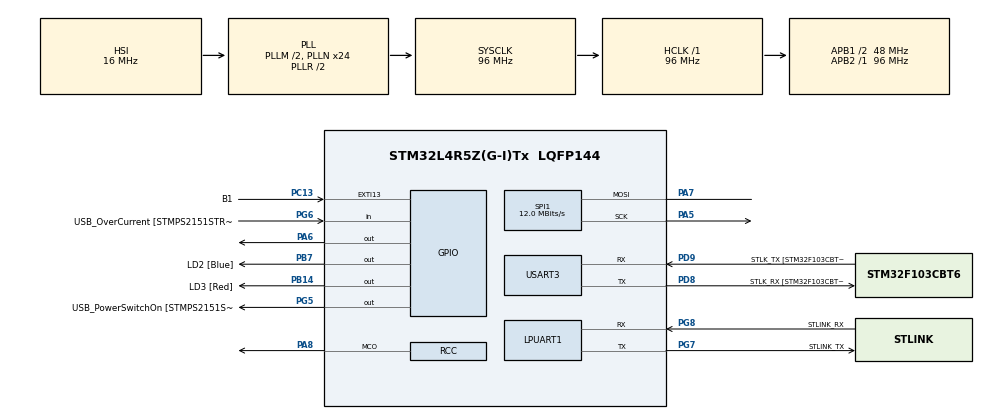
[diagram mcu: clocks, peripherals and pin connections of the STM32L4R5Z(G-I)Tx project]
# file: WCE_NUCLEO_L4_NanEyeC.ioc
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Dma.Request0=SPI1_RX
Dma.Request1=SPI1_TX
Dma.SPI1_RX.0.Direction=DMA_PERIPH_TO_MEMORY
Dma.SPI1_RX.0.EventEnable=DISABLE
Dma.SPI1_RX.0.Instance=DMA1_Channel1
Dma.SPI1_RX.0.MemDataAlignment=DMA_MDATAALIGN_BYTE
Dma.SPI1_RX.0.MemInc=DMA_MINC_ENABLE
Dma.SPI1_RX.0.Mode=DMA_NORMAL
Dma.SPI1_RX.0.PeriphDataAlignment=DMA_PDATAALIGN_BYTE
Dma.SPI1_RX.0.PeriphInc=DMA_PINC_DISABLE
Dma.SPI1_RX.0.Polarity=HAL_DMAMUX_REQUEST_GEN_RISING
Dma.SPI1_RX.0.Priority=DMA_PRIORITY_LOW
Dma.SPI1_RX.0.RequestNumber=1
Dma.SPI1_RX.0.SignalID=NONE
Dma.SPI1_RX.0.SyncEnable=DISABLE
Dma.SPI1_RX.0.SyncPolarity=HAL_DMAMUX_SYNC_NO_EVENT
Dma.SPI1_RX.0.SyncRequestNumber=1
Dma.SPI1_RX.0.SyncSignalID=NONE
Dma.SPI1_TX.1.Direction=DMA_MEMORY_TO_PERIPH
Dma.SPI1_TX.1.EventEnable=DISABLE
Dma.SPI1_TX.1.Instance=DMA1_Channel2
Dma.SPI1_TX.1.MemDataAlignment=DMA_MDATAALIGN_BYTE
Dma.SPI1_TX.1.MemInc=DMA_MINC_ENABLE
Dma.SPI1_TX.1.Mode=DMA_NORMAL
Dma.SPI1_TX.1.PeriphDataAlignment=DMA_PDATAALIGN_BYTE
Dma.SPI1_TX.1.PeriphInc=DMA_PINC_DISABLE
Dma.SPI1_TX.1.Polarity=HAL_DMAMUX_REQUEST_GEN_RISING
Dma.SPI1_TX.1.Priority=DMA_PRIORITY_LOW
Dma.SPI1_TX.1.RequestNumber=1
Dma.SPI1_TX.1.SignalID=NONE
Dma.SPI1_TX.1.SyncEnable=DISABLE
Dma.SPI1_TX.1.SyncPolarity=HAL_DMAMUX_SYNC_NO_EVENT
Dma.SPI1_TX.1.SyncRequestNumber=1
Dma.SPI1_TX.1.SyncSignalID=NONE
Mcu.Family=STM32L4
Mcu.Name=STM32L4R5Z(G-I)Tx
Mcu.Package=LQFP144
NVIC.DMA1_Channel1_IRQn=true\:0\:0\:false\:false\:true\:false\:true
NVIC.DMA1_Channel2_IRQn=true\:0\:0\:false\:false\:true\:false\:true
NVIC.PriorityGroup=NVIC_PRIORITYGROUP_4
NVIC.SPI1_IRQn=true\:0\:0\:false\:false\:true\:true\:true
PA13\ (JTMS/SWDIO).GPIO_Label=TMS
PA13\ (JTMS/SWDIO).Mode=Trace_Asynchronous_SW
PA13\ (JTMS/SWDIO).Signal=SYS_JTMS-SWDIO
PA14\ (JTCK/SWCLK).GPIO_Label=TCK
PA14\ (JTCK/SWCLK).Mode=Trace_Asynchronous_SW
PA14\ (JTCK/SWCLK).Signal=SYS_JTCK-SWCLK
PA5.Mode=Simplex_Bidirectional_Master
PA5.Signal=SPI1_SCK
PA6.Signal=GPIO_Output
PA7.Mode=Simplex_Bidirectional_Master
PA7.Signal=SPI1_MOSI
PA8.Mode=Clock-out
PA8.Signal=RCC_MCO
PB14.GPIO_Label=LD3 [Red]
PB14.Signal=GPIO_Output
PB3\ (JTDO/TRACESWO).GPIO_Label=SWO
PB3\ (JTDO/TRACESWO).Mode=Trace_Asynchronous_SW
PB3\ (JTDO/TRACESWO).Signal=SYS_JTDO-SWO
PB7.GPIO_Label=LD2 [Blue]
PB7.Signal=GPIO_Output
PC13.GPIO_Label=B1
PC13.Signal=GPXTI13
PC14-OSC32_IN\ (PC14).Mode=LSE-External-Oscillator
PC14-OSC32_IN\ (PC14).Signal=RCC_OSC32_IN
PC15-OSC32_OUT\ (PC15).Mode=LSE-External-Oscillator
PC15-OSC32_OUT\ (PC15).Signal=RCC_OSC32_OUT
PD8.GPIO_Label=STLK_RX [STM32F103CBT6_PA3]
PD8.Mode=Asynchronous
PD8.Signal=USART3_TX
PD9.GPIO_Label=STLK_TX [STM32F103CBT6_PA2]
PD9.Mode=Asynchronous
PD9.Signal=USART3_RX
PG5.GPIO_Label=USB_PowerSwitchOn [STMPS2151STR_EN]
PG5.Signal=GPIO_Output
PG6.GPIO_Label=USB_OverCurrent [STMPS2151STR_FAULT]
PG6.Signal=GPIO_Input
PG7.GPIO_Label=STLINK_TX
PG7.Mode=Asynchronous
PG7.Signal=LPUART1_TX
PG8.GPIO_Label=STLINK_RX
PG8.Mode=Asynchronous
PG8.Signal=LPUART1_RX
PH0-OSC_IN\ (PH0).Signal=RCC_OSC_IN
PH1-OSC_OUT\ (PH1).Signal=RCC_OSC_OUT
ProjectManager.HeapSize=0x200
ProjectManager.StackSize=0x400
ProjectManager.TargetToolchain=STM32CubeIDE
RCC.48MHZClocksFreq_Value=24000000
RCC.ADCFreq_Value=96000000
RCC.AHBFreq_Value=96000000
RCC.APB1CLKDivider=RCC_HCLK_DIV2
RCC.APB1Freq_Value=48000000
RCC.APB1TimFreq_Value=96000000
RCC.APB2Freq_Value=96000000
RCC.APB2TimFreq_Value=96000000
RCC.CK48CLockSelection=RCC_USBCLKSOURCE_HSI48
RCC.CortexFreq_Value=96000000
RCC.HCLKFreq_Value=96000000
RCC.HSE_VALUE=8000000
RCC.HSI48_VALUE=48000000
RCC.HSI_VALUE=16000000
RCC.MSI_VALUE=4000000
RCC.PLLM1=2
RCC.PLLMUL=RCC_PLL_MUL9
RCC.PLLN=24
RCC.PLLSAI1N=12
RCC.PLLSourceVirtual=RCC_PLLSOURCE_HSI
RCC.PRESCALERUSB=RCC_USBCLKSOURCE_PLL_DIV1_5
RCC.RCC_MCODiv=RCC_MCODIV_2
RCC.SYSCLKFreq_VALUE=96000000
RCC.SYSCLKSource=RCC_SYSCLKSOURCE_PLLCLK
RCC.SYSCLKSourceVirtual=RCC_SYSCLKSOURCE_PLLCLK
RCC.USBFreq_Value=48000000
RCC.VCOOutputFreq_Value=192000000
SPI1.BaudRatePrescaler=SPI_BAUDRATEPRESCALER_8
SPI1.CalculateBaudRate=12.0 MBits/s
SPI1.DataSize=SPI_DATASIZE_8BIT
SPI1.Direction=SPI_DIRECTION_1LINE
SPI1.Mode=SPI_MODE_MASTER
SPI1.NSSPMode=SPI_NSS_PULSE_ENABLE
SPI1.VirtualType=VM_MASTER
USART3.VirtualMode-Asynchronous=VM_ASYNC
board=NUCLEO-L4R5ZI

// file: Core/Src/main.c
/* USER CODE BEGIN Header */
/**
  ******************************************************************************
  * @file           : main.c
  * @brief          : Main program body
  ******************************************************************************
  * @attention
  *
  * <h2><center>&copy; Copyright (c) 2021 STMicroelectronics.
  * All rights reserved.</center></h2>
  *
  * This software component is licensed by ST under BSD 3-Clause license,
  * the "License"; You may not use this file except in compliance with the
  * License. You may obtain a copy of the License at:
  *                        opensource.org/licenses/BSD-3-Clause
  *
  ******************************************************************************
  */
/* USER CODE END Header */
#include "main.h"

UART_HandleTypeDef hlpuart1;
UART_HandleTypeDef huart3;

SPI_HandleTypeDef hspi1;
DMA_HandleTypeDef hdma_spi1_rx;
DMA_HandleTypeDef hdma_spi1_tx;

void SystemClock_Config(void);
static void MX_GPIO_Init(void);
static void MX_DMA_Init(void);
static void MX_LPUART1_UART_Init(void);
static void MX_USART3_UART_Init(void);
static void MX_SPI1_Init(void);
/* USER CODE BEGIN PFP */
static void Toggle_GPIO_pin_Init(void);
static void Bit_Bang_clock_gen(uint8_t num_clocks);
/* USER CODE END PFP */

int main(void)
{
  /* USER CODE BEGIN 1 */
	uint8_t empty_data[966] = {0};
	uint8_t received_data[52480] = {0};
	uint8_t test_pattern[6];
	test_pattern[0] = 0b10010000;
	test_pattern[1] = 0b11000001;
	test_pattern[2] = 0b00101010;
	test_pattern[3] = 0b10010010;
	test_pattern[4] = 0b00000101;
	test_pattern[5] = 0b00101000;
  /* USER CODE END 1 */

  /* MCU Configuration--------------------------------------------------------*/

  /* Reset of all peripherals, Initializes the Flash interface and the Systick. */
  HAL_Init();

  /* Configure the system clock */
  SystemClock_Config();

  /* Initialize all configured peripherals */
  MX_GPIO_Init();
  MX_DMA_Init();
  MX_LPUART1_UART_Init();
  MX_USART3_UART_Init();
  MX_SPI1_Init();
  /* USER CODE BEGIN 2 */
  //HAL_TIM_Base_Start(&htim2);

  //---- ACTIVATION CLOCK PULSE -----
  HAL_SPI_DeInit(&hspi1);
  Toggle_GPIO_pin_Init();
  GPIOA -> ODR ^= GPIO_PIN_5;
  HAL_Delay(1);
  GPIOA -> ODR ^= GPIO_PIN_5;

  //---- REGISTER CONFIGURATION - 48-bit (4PP) -----
  MX_SPI1_Init();
  HAL_SPI_Transmit(&hspi1, test_pattern, 4, 1000);

  //---- WAIT FOR IDLE START-UP ----
  HAL_Delay(1);

  //---- 10 CLOCKS -----
  HAL_SPI_DeInit(&hspi1);
  Toggle_GPIO_pin_Init();
  for (uint8_t i = 0; i < 20; i++)
    {
	  HAL_GPIO_TogglePin(GPIOA, GPIO_PIN_5);
	  HAL_Delay(1);
    }

//  //---- 12 CLOCKS -----
  for (uint8_t i = 0; i < 24; i++)
    {
	  HAL_GPIO_TogglePin(GPIOA, GPIO_PIN_5);
	  HAL_Delay(1);
    }

  MX_DMA_Init();
  MX_SPI1_Init();

  	//---- INITIAL PRE-SYNC MODE: RECEIVE 492 PP FROM CAMERA -----
    HAL_SPI_Receive(&hspi1, received_data, 492, 100);

    //---- SYNC MODE -----
    HAL_SPI_Receive(&hspi1, received_data, 984, 100);

    //---- DELAY MODE -----
    HAL_SPI_Receive(&hspi1, received_data, 984, 100);

	//---- READOUT MODE -----
	HAL_SPI_Receive(&hspi1, received_data, 52480, 1000); //1
	HAL_SPI_Receive(&hspi1, received_data, 52480, 1000); //2
	HAL_SPI_Receive(&hspi1, received_data, 52480, 1000); //3

	//---- END OF FRAME -----
	HAL_SPI_Receive(&hspi1, received_data, 12, 100);

  /* USER CODE END 2 */

  /* Infinite loop */
  /* USER CODE BEGIN WHILE */
  while (1)
  {
	  //---- REGISTER CONFIGURATION - 48-bit (4PP) -----
	  HAL_SPI_Transmit(&hspi1, test_pattern, 6, 1000);

	  //---- INTERFACE MODE -----
	  HAL_SPI_Transmit(&hspi1, empty_data, 966, 1000);

	  //---- SYNC and DELAY MODE -----
	  HAL_SPI_Receive(&hspi1, received_data, 1968, 1000);

	  //---- READOUT MODE -----
	  HAL_SPI_Receive(&hspi1, received_data, 52480, 1000); //1
	  HAL_SPI_Receive(&hspi1, received_data, 52480, 1000); //2
	  HAL_SPI_Receive(&hspi1, received_data, 52480, 1000); //3

	  //---- END OF FRAME -----
	  HAL_SPI_Receive(&hspi1, received_data, 12, 100);

    /* USER CODE END WHILE */

  }
}

void SystemClock_Config(void)
{
  RCC_OscInitTypeDef RCC_OscInitStruct = {0};
  RCC_ClkInitTypeDef RCC_ClkInitStruct = {0};
  RCC_PeriphCLKInitTypeDef PeriphClkInit = {0};

  /** Configure the main internal regulator output voltage
  */
  if (HAL_PWREx_ControlVoltageScaling(PWR_REGULATOR_VOLTAGE_SCALE1_BOOST) != HAL_OK)
  {
    Error_Handler();
  }
  /** Initializes the RCC Oscillators according to the specified parameters
  * in the RCC_OscInitTypeDef structure.
  */
  RCC_OscInitStruct.OscillatorType = RCC_OSCILLATORTYPE_HSI;
  RCC_OscInitStruct.HSIState = RCC_HSI_ON;
  RCC_OscInitStruct.HSICalibrationValue = RCC_HSICALIBRATION_DEFAULT;
  RCC_OscInitStruct.PLL.PLLState = RCC_PLL_ON;
  RCC_OscInitStruct.PLL.PLLSource = RCC_PLLSOURCE_HSI;
  RCC_OscInitStruct.PLL.PLLM = 2;
  RCC_OscInitStruct.PLL.PLLN = 24;
  RCC_OscInitStruct.PLL.PLLP = RCC_PLLP_DIV2;
  RCC_OscInitStruct.PLL.PLLQ = RCC_PLLQ_DIV2;
  RCC_OscInitStruct.PLL.PLLR = RCC_PLLR_DIV2;
  if (HAL_RCC_OscConfig(&RCC_OscInitStruct) != HAL_OK)
  {
    Error_Handler();
  }
  /** Initializes the CPU, AHB and APB buses clocks
  */
  RCC_ClkInitStruct.ClockType = RCC_CLOCKTYPE_HCLK|RCC_CLOCKTYPE_SYSCLK
                              |RCC_CLOCKTYPE_PCLK1|RCC_CLOCKTYPE_PCLK2;
  RCC_ClkInitStruct.SYSCLKSource = RCC_SYSCLKSOURCE_PLLCLK;
  RCC_ClkInitStruct.AHBCLKDivider = RCC_SYSCLK_DIV1;
  RCC_ClkInitStruct.APB1CLKDivider = RCC_HCLK_DIV2;
  RCC_ClkInitStruct.APB2CLKDivider = RCC_HCLK_DIV1;

  if (HAL_RCC_ClockConfig(&RCC_ClkInitStruct, FLASH_LATENCY_4) != HAL_OK)
  {
    Error_Handler();
  }
  PeriphClkInit.PeriphClockSelection = RCC_PERIPHCLK_USART3|RCC_PERIPHCLK_LPUART1;
  PeriphClkInit.Usart3ClockSelection = RCC_USART3CLKSOURCE_PCLK1;
  PeriphClkInit.Lpuart1ClockSelection = RCC_LPUART1CLKSOURCE_PCLK1;
  if (HAL_RCCEx_PeriphCLKConfig(&PeriphClkInit) != HAL_OK)
  {
    Error_Handler();
  }
  HAL_RCC_MCOConfig(RCC_MCO1, RCC_MCO1SOURCE_SYSCLK, RCC_MCODIV_2);
}

static void MX_LPUART1_UART_Init(void)
{

  hlpuart1.Instance = LPUART1;
  hlpuart1.Init.BaudRate = 209700;
  hlpuart1.Init.WordLength = UART_WORDLENGTH_7B;
  hlpuart1.Init.StopBits = UART_STOPBITS_1;
  hlpuart1.Init.Parity = UART_PARITY_NONE;
  hlpuart1.Init.Mode = UART_MODE_TX_RX;
  hlpuart1.Init.HwFlowCtl = UART_HWCONTROL_NONE;
  hlpuart1.Init.OneBitSampling = UART_ONE_BIT_SAMPLE_DISABLE;
  hlpuart1.Init.ClockPrescaler = UART_PRESCALER_DIV1;
  hlpuart1.AdvancedInit.AdvFeatureInit = UART_ADVFEATURE_NO_INIT;
  hlpuart1.FifoMode = UART_FIFOMODE_DISABLE;
  if (HAL_UART_Init(&hlpuart1) != HAL_OK)
  {
    Error_Handler();
  }
  if (HAL_UARTEx_SetTxFifoThreshold(&hlpuart1, UART_TXFIFO_THRESHOLD_1_8) != HAL_OK)
  {
    Error_Handler();
  }
  if (HAL_UARTEx_SetRxFifoThreshold(&hlpuart1, UART_RXFIFO_THRESHOLD_1_8) != HAL_OK)
  {
    Error_Handler();
  }
  if (HAL_UARTEx_DisableFifoMode(&hlpuart1) != HAL_OK)
  {
    Error_Handler();
  }

}

static void MX_USART3_UART_Init(void)
{

  huart3.Instance = USART3;
  huart3.Init.BaudRate = 115200;
  huart3.Init.WordLength = UART_WORDLENGTH_8B;
  huart3.Init.StopBits = UART_STOPBITS_1;
  huart3.Init.Parity = UART_PARITY_NONE;
  huart3.Init.Mode = UART_MODE_TX_RX;
  huart3.Init.HwFlowCtl = UART_HWCONTROL_NONE;
  huart3.Init.OverSampling = UART_OVERSAMPLING_16;
  huart3.Init.OneBitSampling = UART_ONE_BIT_SAMPLE_DISABLE;
  huart3.Init.ClockPrescaler = UART_PRESCALER_DIV1;
  huart3.AdvancedInit.AdvFeatureInit = UART_ADVFEATURE_NO_INIT;
  if (HAL_UART_Init(&huart3) != HAL_OK)
  {
    Error_Handler();
  }
  if (HAL_UARTEx_SetTxFifoThreshold(&huart3, UART_TXFIFO_THRESHOLD_1_8) != HAL_OK)
  {
    Error_Handler();
  }
  if (HAL_UARTEx_SetRxFifoThreshold(&huart3, UART_RXFIFO_THRESHOLD_1_8) != HAL_OK)
  {
    Error_Handler();
  }
  if (HAL_UARTEx_DisableFifoMode(&huart3) != HAL_OK)
  {
    Error_Handler();
  }

}

static void MX_SPI1_Init(void)
{

  /* SPI1 parameter configuration*/
  hspi1.Instance = SPI1;
  hspi1.Init.Mode = SPI_MODE_MASTER;
  hspi1.Init.Direction = SPI_DIRECTION_1LINE;
  hspi1.Init.DataSize = SPI_DATASIZE_8BIT;
  hspi1.Init.CLKPolarity = SPI_POLARITY_LOW;
  hspi1.Init.CLKPhase = SPI_PHASE_1EDGE;
  hspi1.Init.NSS = SPI_NSS_SOFT;
  hspi1.Init.BaudRatePrescaler = SPI_BAUDRATEPRESCALER_8;
  hspi1.Init.FirstBit = SPI_FIRSTBIT_MSB;
  hspi1.Init.TIMode = SPI_TIMODE_DISABLE;
  hspi1.Init.CRCCalculation = SPI_CRCCALCULATION_DISABLE;
  hspi1.Init.CRCPolynomial = 7;
  hspi1.Init.CRCLength = SPI_CRC_LENGTH_DATASIZE;
  hspi1.Init.NSSPMode = SPI_NSS_PULSE_ENABLE;
  if (HAL_SPI_Init(&hspi1) != HAL_OK)
  {
    Error_Handler();
  }

}

static void MX_DMA_Init(void)
{

  /* DMA controller clock enable */
  __HAL_RCC_DMAMUX1_CLK_ENABLE();
  __HAL_RCC_DMA1_CLK_ENABLE();

  /* DMA interrupt init */
  /* DMA1_Channel1_IRQn interrupt configuration */
  HAL_NVIC_SetPriority(DMA1_Channel1_IRQn, 0, 0);
  HAL_NVIC_EnableIRQ(DMA1_Channel1_IRQn);
  /* DMA1_Channel2_IRQn interrupt configuration */
  HAL_NVIC_SetPriority(DMA1_Channel2_IRQn, 0, 0);
  HAL_NVIC_EnableIRQ(DMA1_Channel2_IRQn);

}

static void MX_GPIO_Init(void)
{
  GPIO_InitTypeDef GPIO_InitStruct = {0};

  /* GPIO Ports Clock Enable */
  __HAL_RCC_GPIOC_CLK_ENABLE();
  __HAL_RCC_GPIOH_CLK_ENABLE();
  __HAL_RCC_GPIOA_CLK_ENABLE();
  __HAL_RCC_GPIOB_CLK_ENABLE();
  __HAL_RCC_GPIOD_CLK_ENABLE();
  __HAL_RCC_GPIOG_CLK_ENABLE();
  HAL_PWREx_EnableVddIO2();

  /*Configure GPIO pin Output Level */
  HAL_GPIO_WritePin(GPIOA, GPIO_PIN_6, GPIO_PIN_RESET);

  /*Configure GPIO pin Output Level */
  HAL_GPIO_WritePin(GPIOB, LD3_Pin|LD2_Pin, GPIO_PIN_RESET);

  /*Configure GPIO pin Output Level */
  HAL_GPIO_WritePin(USB_PowerSwitchOn_GPIO_Port, USB_PowerSwitchOn_Pin, GPIO_PIN_RESET);

  /*Configure GPIO pin : B1_Pin */
  GPIO_InitStruct.Pin = B1_Pin;
  GPIO_InitStruct.Mode = GPIO_MODE_IT_RISING;
  GPIO_InitStruct.Pull = GPIO_NOPULL;
  HAL_GPIO_Init(B1_GPIO_Port, &GPIO_InitStruct);

  /*Configure GPIO pin : PA6 */
  GPIO_InitStruct.Pin = GPIO_PIN_6;
  GPIO_InitStruct.Mode = GPIO_MODE_OUTPUT_PP;
  GPIO_InitStruct.Pull = GPIO_NOPULL;
  GPIO_InitStruct.Speed = GPIO_SPEED_FREQ_LOW;
  HAL_GPIO_Init(GPIOA, &GPIO_InitStruct);

  /*Configure GPIO pins : LD3_Pin LD2_Pin */
  GPIO_InitStruct.Pin = LD3_Pin|LD2_Pin;
  GPIO_InitStruct.Mode = GPIO_MODE_OUTPUT_PP;
  GPIO_InitStruct.Pull = GPIO_NOPULL;
  GPIO_InitStruct.Speed = GPIO_SPEED_FREQ_LOW;
  HAL_GPIO_Init(GPIOB, &GPIO_InitStruct);

  /*Configure GPIO pin : USB_PowerSwitchOn_Pin */
  GPIO_InitStruct.Pin = USB_PowerSwitchOn_Pin;
  GPIO_InitStruct.Mode = GPIO_MODE_OUTPUT_PP;
  GPIO_InitStruct.Pull = GPIO_NOPULL;
  GPIO_InitStruct.Speed = GPIO_SPEED_FREQ_LOW;
  HAL_GPIO_Init(USB_PowerSwitchOn_GPIO_Port, &GPIO_InitStruct);

  /*Configure GPIO pin : USB_OverCurrent_Pin */
  GPIO_InitStruct.Pin = USB_OverCurrent_Pin;
  GPIO_InitStruct.Mode = GPIO_MODE_INPUT;
  GPIO_InitStruct.Pull = GPIO_NOPULL;
  HAL_GPIO_Init(USB_OverCurrent_GPIO_Port, &GPIO_InitStruct);

  /*Configure GPIO pin : PA8 */
  GPIO_InitStruct.Pin = GPIO_PIN_8;
  GPIO_InitStruct.Mode = GPIO_MODE_AF_PP;
  GPIO_InitStruct.Pull = GPIO_NOPULL;
  GPIO_InitStruct.Speed = GPIO_SPEED_FREQ_LOW;
  GPIO_InitStruct.Alternate = GPIO_AF0_MCO;
  HAL_GPIO_Init(GPIOA, &GPIO_InitStruct);

}

/* USER CODE BEGIN 4 */
static void Toggle_GPIO_pin_Init(void)
{
  GPIO_InitTypeDef GPIO_InitStruct = {0};

  /*Configure GPIO pin Output Level */
  HAL_GPIO_WritePin(GPIOA, GPIO_PIN_5, GPIO_PIN_RESET);

  /*Configure GPIO pin : PA6 */
  GPIO_InitStruct.Pin = GPIO_PIN_5;
  GPIO_InitStruct.Mode = GPIO_MODE_OUTPUT_PP;
  GPIO_InitStruct.Pull = GPIO_NOPULL;
  GPIO_InitStruct.Speed = GPIO_SPEED_FREQ_LOW;
  HAL_GPIO_Init(GPIOA, &GPIO_InitStruct);
}

static void Bit_Bang_clock_gen(uint8_t num_clocks)
{
	HAL_SPI_DeInit(&hspi1);
	Toggle_GPIO_pin_Init();
		for (uint8_t i = 0; i < (num_clocks*2); i++)
		 {
		  HAL_GPIO_TogglePin(GPIOA, GPIO_PIN_5);
		  HAL_Delay(1);
		 }
}

/* USER CODE END 4 */

void Error_Handler(void)
{
  __disable_irq();
  while (1)
  {
  }
}

/************************ (C) COPYRIGHT STMicroelectronics *****END OF FILE****/
